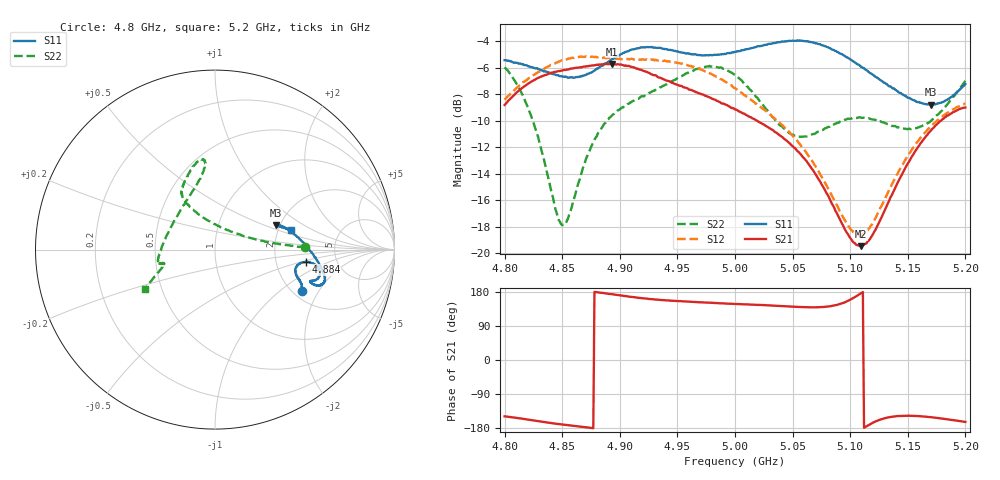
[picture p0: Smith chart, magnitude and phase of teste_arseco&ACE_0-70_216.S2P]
! Network Analyzer HP8722D
! Hewlett-Packard
! Data name: Linha & Wilkinson
! Saver's name: Rodrigo Anjos
! Comments: Teste da utilização de aquisição
! continua pelo VNA HP8722D
! Time and date: 8/5/2025 14:33
!  Frequency  S11  S21  S12  S22
# HZ  S  MA R 50
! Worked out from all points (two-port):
!   401 points, 4.8 GHz to 5.2 GHz, reference 50 ohm
!   highest |S21| = -5.70 dB at 4.893 GHz (marker M1); lowest = -19.5 dB at 5.109 GHz (marker M2)
!   |S21| within 3 dB of the highest: 4.801 GHz to 4.99 GHz (189.2 MHz wide, 3.86 % of centre)
!   lowest |S11| = -8.8 dB at 5.17 GHz (marker M3), VSWR 2.15, Z = 94.7 + j30 ohm
!   |S11| at or under -10 dB: nowhere
!   |S22| runs from -17.9 to -5.8 dB; largest |S21 - S12| = 1.1
!   S11 on the Smith chart (normalised r, x): 4.8 GHz: 2.24, -1.44; 4.884 GHz: 2.97, -0.55; 5.2 GHz: 2.33, +0.64
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4.8e9  0.5361 -25.3  0.3631 -148.7  0.3802 10.7  0.5036 1.5
4.813e9  0.5207 -22.2  0.4135 -153.9  0.4305 9.0  0.4176 3.3
4.823e9  0.5049 -20.2  0.4443 -158.5  0.4648 7.5  0.3301 6.3
4.849e9  0.4659 -16.0  0.4894 -169.9  0.5339 3.2  0.1287 58.3
4.855e9  0.4607 -14.3  0.4949 -172.2  0.5429 2.4  0.1351 84.7
4.867e9  0.4655 -10.9  0.5034 -176.3  0.5523 0.8  0.2028 113.0
4.884e9  0.5108 -7.7  0.5172 177.5  0.547 -0.8  0.2959 121.2
4.893e9  0.5397 -7.8  0.5185 173.6  0.5459 -0.7  0.3308 122.1
4.913e9  0.591 -10.9  0.5021 165.5  0.5389 -0.3  0.3786 119.1
4.934e9  0.5974 -15.5  0.4613 158.6  0.5372 -1.3  0.4198 113.3
4.974e9  0.559 -18.4  0.3934 151.6  0.4866 -5.1  0.5052 99.7
5e9  0.5767 -19.3  0.3491 147.9  0.421 -5.1  0.4719 96.8
5.016e9  0.5977 -19.3  0.3221 146.0  0.3736 -3.0  0.4015 102.0
5.046e9  0.6336 -17.1  0.2634 141.4  0.2901 3.6  0.2865 134.4
5.067e9  0.6259 -13.4  0.2078 139.0  0.2229 9.5  0.2813 164.3
5.098e9  0.5475 -2.8  0.1181 156.2  0.1275 36.9  0.3222 -170.5
5.109e9  0.5083 2.3  0.1062 175.3  0.1172 58.4  0.3255 -167.3
5.118e9  0.4776 6.7  0.1146 -168.1  0.1271 76.2  0.3209 -166.0
5.134e9  0.4271 14.5  0.1587 -150.9  0.1733 94.8  0.3057 -165.4
5.154e9  0.3799 20.9  0.2336 -147.3  0.2481 101.8  0.2948 -164.2
5.17e9  0.3645 22.1  0.2902 -150.9  0.3013 102.6  0.3157 -160.9
5.2e9  0.4357 14.8  0.3551 -163.4  0.3683 103.1  0.4476 -150.5
